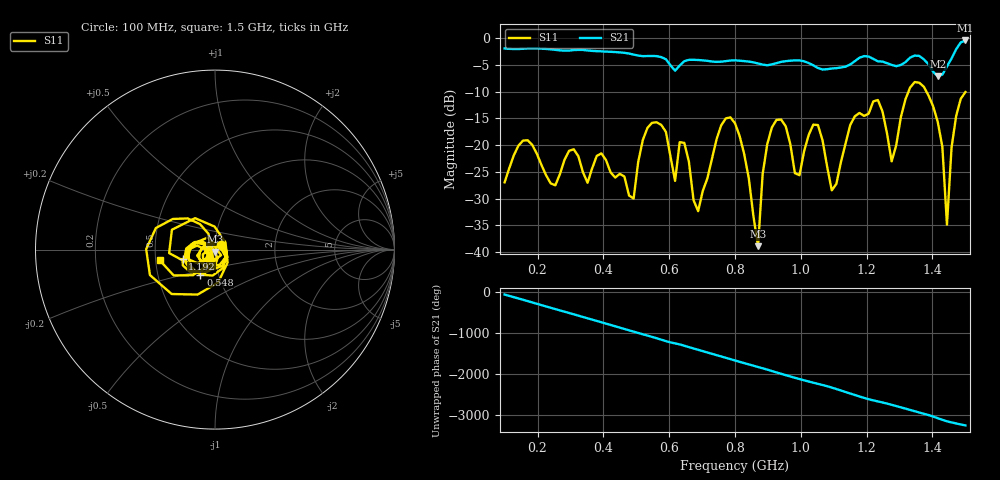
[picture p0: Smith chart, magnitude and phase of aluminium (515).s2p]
! NanoVNA-App
! Date: 2025-09-25 14:59:17
! Start: 100MHz Stop: 1,5GHz Points: 101
! S-Parameter data: F S11 S21 S12 S22
# Hz S RI R 50
!  Frequency  S11_Real  S11_Imag  S21_Real  S21_Imag  S12_Real  S12_Imag  S22_Real  S22_Imag
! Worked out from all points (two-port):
!   101 points, 100 MHz to 1.5 GHz, reference 50 ohm
!   highest |S21| = -0.42 dB at 1.5 GHz (marker M1); lowest = -7.1 dB at 1.416 GHz (marker M2)
!   |S21| within 3 dB of the highest: start of sweep to 567.2 MHz; 1.461 GHz to end of sweep (the widest 2 of 4)
!   lowest |S11| = -38.9 dB at 870 MHz (marker M3), VSWR 1.02, Z = 50.2 - j1.11 ohm
!   |S11| at or under -10 dB: start of sweep to 1.327 GHz; 1.382 GHz to end of sweep
!   S12 and S22 are empty: the file has one direction only
!   S11 on the Smith chart (normalised r, x): 100 MHz: 1.07, +0.06; 548 MHz: 0.82, -0.23; 1.192 GHz: 0.69, -0.07; 1.5 GHz: 0.53, -0.07
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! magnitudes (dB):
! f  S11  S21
! 100 MHz  -27.0  -1.9
! 156 MHz  -19.1  -2.0
! 338 MHz  -25.1  -2.2
! 492 MHz  -30.0  -3.1
! 548 MHz  -15.8  -3.3
! 576 MHz  -16.2  -3.5
! 646 MHz  -19.6  -4.3
! 688 MHz  -32.3  -4.1
! 800 MHz  -15.9  -4.1
! 870 MHz  -38.9  -4.7
! 912 MHz  -16.7  -4.9
! 996 MHz  -25.6  -4.2
! 1.038 GHz  -16.2  -5.1
! 1.094 GHz  -28.5  -5.7
! 1.192 GHz  -14.5  -3.3
! 1.234 GHz  -11.6  -4.3
! 1.276 GHz  -23.0  -5.0
! 1.346 GHz  -8.2  -3.2
! 1.416 GHz  -15.6  -7.1
! 1.444 GHz  -34.9  -5.3
! 1.458 GHz  -20.4  -3.8
! 1.5 GHz  -10.1  -0.4
